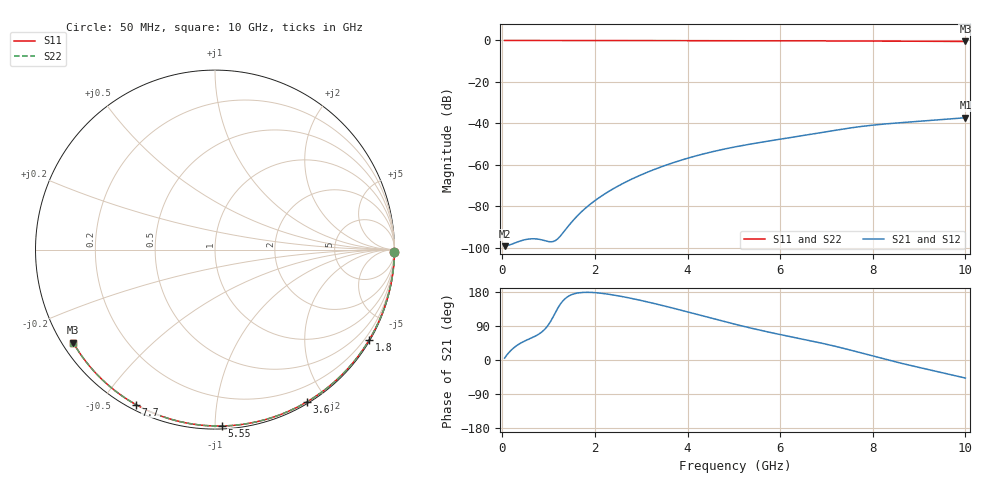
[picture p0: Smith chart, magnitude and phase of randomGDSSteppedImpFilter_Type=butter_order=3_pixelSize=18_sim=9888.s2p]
! freq	dB(S11)	phase(S11)	dB(S12)	phase(S12)
!  dB(S21)	phase(S21)	dB(S22)	phase(S22)
!S-par simulation data
#  GHz  S  DB  R 50
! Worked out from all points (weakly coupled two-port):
!   200 points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, 50 MHz to 10 GHz, reference 50 ohm
!   highest |S21| = -37.26 dB at 10 GHz (marker M1); lowest = -99.2 dB at 50 MHz (marker M2)
!   lowest |S11| = -0.5 dB at 10 GHz (marker M3), VSWR 35.16, Z = 1.55 - j14.9 ohm
!   |S11| at or under -10 dB: nowhere
!   |S22| runs from -0.5 to 0.0 dB; largest |S21 - S12| = 0
!   S11 on the Smith chart (normalised r, x): 50 MHz: open; 1.8 GHz: 0.03, -3.70; 3.6 GHz: 0.02, -1.77; 5.55 GHz: 0.02, -1.04; 7.7 GHz: 0.02, -0.61; 10 GHz: 0.03, -0.30
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0.05  -0.00 -0.9  -99.16 5.0  -99.16 5.0  -0.00 -0.9
0.85  -0.02 -14.4  -96.10 73.6  -96.10 73.6  -0.02 -14.4
1.3  -0.03 -22.0  -93.03 154.9  -93.03 154.9  -0.03 -22.0
1.75  -0.04 -29.4  -81.76 178.4  -81.76 178.4  -0.04 -29.4
1.8  -0.04 -30.2  -80.76 178.6  -80.76 178.6  -0.04 -30.2
1.85  -0.04 -31.1  -79.82 178.6  -79.82 178.6  -0.04 -31.1
2.15  -0.05 -36.0  -74.87 175.9  -74.87 175.9  -0.05 -36.0
2.35  -0.05 -39.2  -72.07 172.5  -72.07 172.5  -0.05 -39.2
2.55  -0.05 -42.4  -69.58 168.3  -69.58 168.3  -0.05 -42.4
2.95  -0.06 -48.8  -65.25 158.4  -65.25 158.4  -0.06 -48.8
3.4  -0.07 -55.9  -61.19 145.6  -61.19 145.6  -0.07 -55.9
3.6  -0.08 -59.0  -59.60 139.5  -59.60 139.5  -0.08 -59.0
3.95  -0.09 -64.3  -57.11 128.5  -57.11 128.5  -0.09 -64.3
4.3  -0.10 -69.6  -54.94 117.3  -54.94 117.3  -0.10 -69.6
5.05  -0.12 -80.6  -51.21 93.6  -51.21 93.6  -0.12 -80.6
5.55  -0.14 -87.8  -49.22 79.1  -49.22 79.1  -0.14 -87.8
6.1  -0.17 -95.5  -47.24 64.6  -47.24 64.6  -0.17 -95.5
6.7  -0.20 -103.7  -45.08 49.5  -45.08 49.5  -0.20 -103.7
7.7  -0.27 -116.9  -41.60 20.3  -41.60 20.3  -0.27 -116.9
8.35  -0.32 -125.4  -40.09 -0.6  -40.09 -0.6  -0.32 -125.4
9.2  -0.40 -136.4  -38.64 -25.1  -38.64 -25.1  -0.40 -136.4
10  -0.49 -146.7  -37.26 -47.6  -37.26 -47.6  -0.49 -146.7
